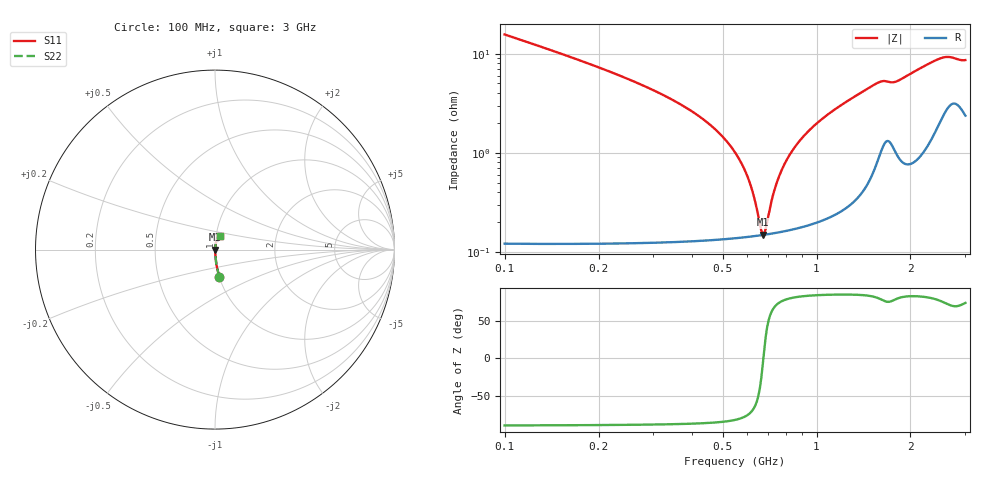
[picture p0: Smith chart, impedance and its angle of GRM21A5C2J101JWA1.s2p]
!Murata Part Number: GRM21A5C2J101JWA1
!These Parameters are Measured in Series Mode Connection
!Data Generated on Mar 30, 2021
!  o--ll--o
!Port1  Port2
!  o------o
!Operation Temp=25[degC], DC Bias Voltage=0[V]
!Freq. Start=100[MHz] Stop=3[GHz] 401[Steps]
# Hz S RI R 50
!Freq.(Hz) S11(Real) S11(Imag) S21(Real) S21(Imag) S12(Real) S12(Imag) S22(Real) S22(Imag)
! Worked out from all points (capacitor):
!   401 points, 100 MHz to 3 GHz, reference 50 ohm
!   read as one part in series: C = 99.8 pF near 114.5 MHz
!   lowest |Z| = 150 mohm at 672.8 MHz (marker M1)
!   series resonance near 675.2 MHz, so ESL is about 560 pH
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1e8  0.0249 -0.1518  0.9751 0.1518  0.9751 0.1518  0.0249 -0.1518
2.0875e8  0.00595 -0.0686  0.994 0.0686  0.994 0.0686  0.00595 -0.0686
4.8425e8  0.00159 -0.016  0.9984 0.016  0.9984 0.016  0.00159 -0.016
5.4225e8  0.00148 -0.0105  0.9985 0.0105  0.9985 0.0105  0.00148 -0.0105
5.8575e8  0.00145 -0.00678  0.9985 0.00678  0.9985 0.00678  0.00145 -0.00678
6.1475e8  0.00145 -0.00447  0.9985 0.00447  0.9985 0.00447  0.00145 -0.00447
6.5825e8  0.00147 -0.00121  0.9985 0.00121  0.9985 0.00121  0.00147 -0.00121
6.7275e8  0.00149 -0.000175  0.9985 0.000175  0.9985 0.000175  0.00149 -0.000175
6.8725e8  0.0015 0.000843  0.9985 -0.000843  0.9985 -0.000843  0.0015 0.000843
7.235e8  0.00155 0.0033  0.9984 -0.0033  0.9984 -0.0033  0.00155 0.0033
7.4525e8  0.00159 0.00473  0.9984 -0.00473  0.9984 -0.00473  0.00159 0.00473
7.7425e8  0.00164 0.00658  0.9984 -0.00658  0.9984 -0.00658  0.00164 0.00658
8.105e8  0.00173 0.00881  0.9983 -0.00881  0.9983 -0.00881  0.00173 0.00881
9.1925e8  0.00205 0.0151  0.998 -0.0151  0.998 -0.0151  0.00205 0.0151
1.0715e9  0.00269 0.0234  0.9973 -0.0234  0.9973 -0.0234  0.00269 0.0234
1.2745e9  0.00409 0.0339  0.9959 -0.0339  0.9959 -0.0339  0.00409 0.0339
1.55e9  0.00975 0.0483  0.9903 -0.0483  0.9903 -0.0483  0.00975 0.0483
1.62975e9  0.0138 0.0503  0.9862 -0.0503  0.9862 -0.0503  0.0138 0.0503
1.782e9  0.0128 0.0496  0.9872 -0.0496  0.9872 -0.0496  0.0128 0.0496
2.03575e9  0.0119 0.063  0.9881 -0.063  0.9881 -0.063  0.0119 0.063
2.5215e9  0.0289 0.0834  0.9711 -0.0834  0.9711 -0.0834  0.0289 0.0834
3e9  0.0295 0.0784  0.9705 -0.0784  0.9705 -0.0784  0.0295 0.0784
